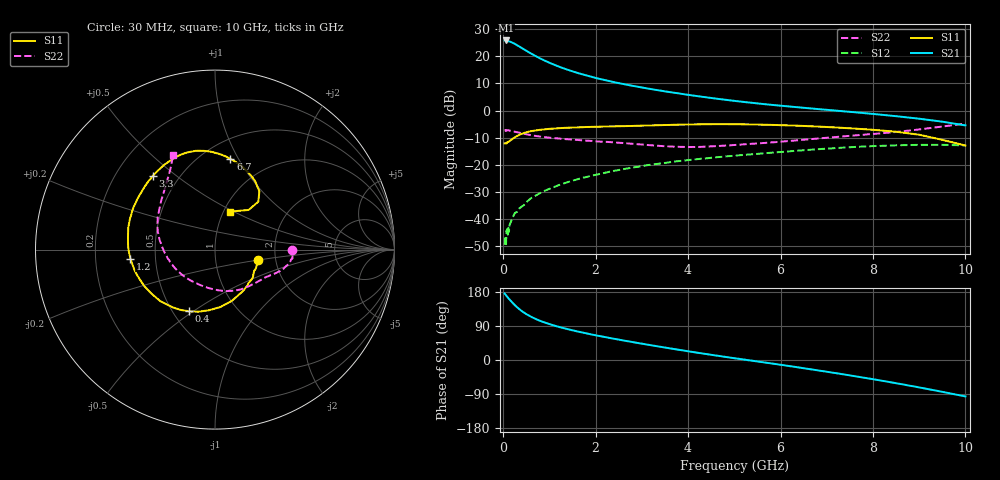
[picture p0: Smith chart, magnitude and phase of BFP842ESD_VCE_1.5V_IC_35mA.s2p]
! Infineon Technologies  Discrete & RF Semiconductors
! BFP842ESD
! VCE =  1.5 V,  IC =  35 mA
! Common Emitter S-Parameters:  May 2012
# GHz  S  MA  R  50
!  f  S11  S21  S12  S22
! GHz  MAG  ANG  MAG  ANG  MAG  ANG  MAG  ANG
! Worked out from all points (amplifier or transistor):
!   99 points, 30 MHz to 10 GHz, reference 50 ohm
!   highest |S21| = 25.8 dB at 60 MHz (marker M1)
!   |S21| within 3 dB of that: start of sweep to 422.8 MHz
!   unconditionally stable (mu >= 1): start of sweep to end of sweep
!   at 350 MHz: K = 1.56, MAG = 25.4 dB, |S12| = -36.0 dB
!   at 3.5 GHz: K = 1.39, MAG = 9.5 dB, |S12| = -19.3 dB
!   at 10 GHz: K = 2.52, MAG = -3.2 dB, |S12| = -12.8 dB
!   S11 on the Smith chart (normalised r, x): 30 MHz: 1.62, -0.21; 400 MHz: 0.60, -0.48; 1.2 GHz: 0.36, -0.05; 3.3 GHz: 0.36, +0.41; 6.7 GHz: 0.68, +0.93; 10 GHz: 1.07, +0.48
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0.03  0.249 -14.0  19.5 175.7  0.0034 -35.9  0.4279 -0.2
0.05  0.2485 -20.9  19.28 172.3  0.0049 7.7  0.4243 -1.7
0.06  0.2511 -25.2  19.52 170.8  0.0032 11.8  0.4388 -2.0
0.07  0.2483 -28.3  19.27 169.5  0.0062 4.0  0.4297 -2.9
0.11  0.2637 -44.4  19.02 163.4  0.007 51.6  0.4331 -5.6
0.15  0.2799 -57.5  18.52 157.8  0.0083 47.3  0.4263 -8.2
0.25  0.3212 -84.5  16.93 144.9  0.013 61.5  0.4092 -12.6
0.35  0.3584 -105.0  15.09 134.0  0.0159 59.6  0.3922 -16.8
0.4  0.3734 -113.0  14.19 129.2  0.0171 63.0  0.3826 -18.2
0.5  0.3987 -126.2  12.62 121.1  0.0206 63.1  0.3668 -20.6
0.6  0.4189 -136.7  11.24 114.3  0.0244 62.5  0.3529 -22.7
0.7  0.4308 -145.4  10.09 108.4  0.0272 63.4  0.3416 -24.5
0.9  0.4521 -159.1  8.284 98.8  0.0335 62.0  0.3242 -27.9
1.2  0.474 -173.9  6.457 87.5  0.0425 60.1  0.3065 -33.6
1.7  0.4939 168.5  4.679 72.9  0.0575 54.2  0.2833 -43.6
2.4  0.5125 150.0  3.334 56.0  0.078 47.1  0.2596 -60.0
3.3  0.5368 130.4  2.407 36.9  0.1035 35.6  0.2272 -85.8
3.4  0.5394 128.4  2.333 34.9  0.1061 34.2  0.2235 -89.1
5.1  0.5607 101.2  1.476 3.1  0.1503 11.0  0.2352 -147.1
6.7  0.5125 80.3  1.088 -25.4  0.1919 -13.4  0.3008 174.8
8.5  0.4083 52.7  0.789 -61.2  0.2295 -49.6  0.4042 138.0
10  0.2273 68.7  0.534 -96.1  0.2286 -89.6  0.578 113.7
